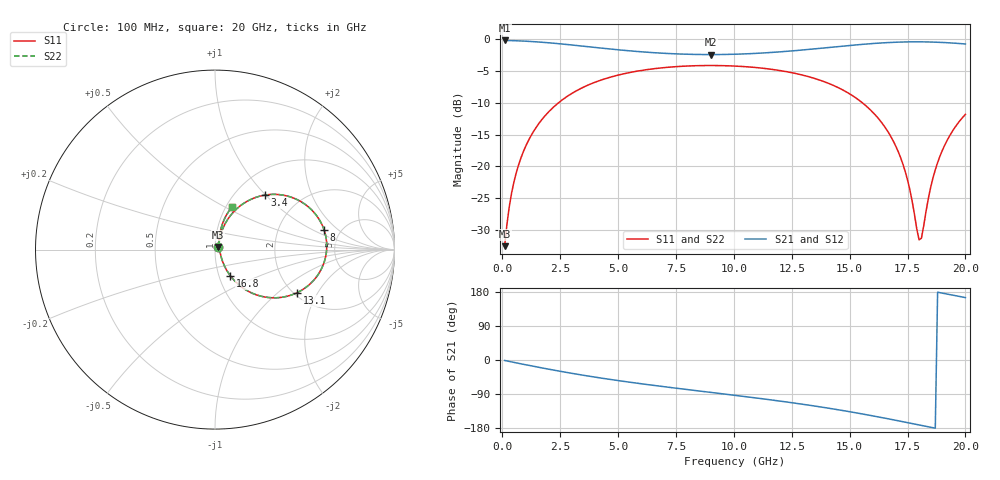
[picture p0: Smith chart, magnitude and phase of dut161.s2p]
! Touchstone file exported from HFSS 2026.1.0
!  File:  C:/ffzhzh/LocalFiles/Ansys_Project_Files/temp_train_TSV_RDL_161_1783053728_36532.aedt
!  Generated:  12:55:51 PM Jul  3, 2026
!  Design:  TSV_RDL
!  Project:  temp_train_TSV_RDL_161_1783053728_36532
! Variables:
!  h_bsmrdl = 3.67um
!  h_ox = 20um
!  h_rdl = 5um
!  h_sub = 99.44um
!  h_tmrdl = 4.04um
!  h_tsv = 99.44um
!  h_via = 3um
!  l_bsmrdl = 287.26um
!  l_sub = 2919.29um
!  l_tmrdl = 385.18um
!  m_sub = 200um
!  pitch = 58.6um
!  r_tsv = 5.94um
!  s_tmrdl = 10um
!  w_bsmrdl = 28.25um
!  w_sub = 500um
!  w_tmrdl = 10.68um
!  x_tsv_center1 = 390.52um
!  x_tsv_center2 = 706.03um
!  x_tsv_center3 = 1101.89um
!  x_tsv_center4 = 1417.4um
!  x_tsv_center5 = 1813.26um
!  x_tsv_center6 = 2128.77um
# GHz S MA R 50.000000
! Terminal data exported
! Port[1] = TM_RDL1_1_T1
! Port[2] = TM_RDL5_1_T1
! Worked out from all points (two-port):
!   200 points, 100 MHz to 20 GHz, reference 50 ohm
!   highest |S21| = -0.16 dB at 100 MHz (marker M1); lowest = -2.4 dB at 9 GHz (marker M2)
!   |S21| within 3 dB of the highest: start of sweep to end of sweep
!   lowest |S11| = -32.6 dB at 100 MHz (marker M3), VSWR 1.05, Z = 51.9 + j1.5 ohm
!   |S11| at or under -10 dB: start of sweep to 2.422 GHz; 15.56 GHz to end of sweep
!   |S22| runs from -32.6 to -4.1 dB; largest |S21 - S12| = 1.7e-14
!   S11 on the Smith chart (normalised r, x): 100 MHz: 1.04, +0.03; 3.4 GHz: 1.35, +0.99; 8 GHz: 3.72, +1.33; 13.1 GHz: 2.08, -1.36; 16.8 GHz: 1.13, -0.34; 20 GHz: 1.07, +0.55
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0.1  0.02351 37.8  0.9816 -1.3  0.9816 -1.3  0.02351 37.8
! Gamma 0 0 0 0
! Port Impedance 50 0 50 0
0.3  0.0479 62.9  0.9801 -3.8  0.9801 -3.8  0.0479 62.9
0.5  0.07503 68.5  0.9777 -6.3  0.9777 -6.3  0.07503 68.5
1.1  0.1559 68.6  0.9668 -13.6  0.9668 -13.6  0.1559 68.6
2.1  0.2802 60.1  0.9379 -25.3  0.9379 -25.3  0.2802 60.1
3.4  0.4116 47.6  0.8885 -39.3  0.8885 -39.3  0.4116 47.6
3.5  0.4202 46.6  0.8845 -40.3  0.8845 -40.3  0.4202 46.6
6.8  0.595 19.0  0.781 -69.0  0.781 -69.0  0.595 19.0
8  0.6175 10.3  0.7642 -78.1  0.7642 -78.1  0.6175 10.3
9  0.6232 3.2  0.7598 -85.5  0.7598 -85.5  0.6232 3.2
10.1  0.6162 -4.7  0.7652 -93.6  0.7652 -93.6  0.6162 -4.6
13.1  0.5164 -27.7  0.8301 -117.9  0.8301 -117.9  0.5164 -27.7
13.4  0.4985 -30.3  0.8399 -120.6  0.8399 -120.6  0.4985 -30.2
15.4  0.3328 -48.4  0.9099 -140.7  0.9099 -140.7  0.3328 -48.3
16.7  0.1818 -59.2  0.9455 -155.6  0.9455 -155.6  0.1819 -59.1
16.8  0.1691 -59.7  0.9474 -156.8  0.9474 -156.8  0.1692 -59.6
17.5  0.07836 -57.5  0.9564 -165.2  0.9564 -165.2  0.07845 -57.3
18  0.02638 -4.5  0.9576 -171.4  0.9576 -171.4  0.02668 -4.4
18.1  0.02714 24.1  0.9574 -172.6  0.9574 -172.6  0.02744 23.9
18.5  0.06832 69.1  0.9544 -177.5  0.9544 -177.5  0.06845 68.9
18.9  0.12 74.2  0.9487 177.6  0.9487 177.6  0.1201 74.0
20  0.2571 68.2  0.9209 164.7  0.9209 164.7  0.2571 68.1
